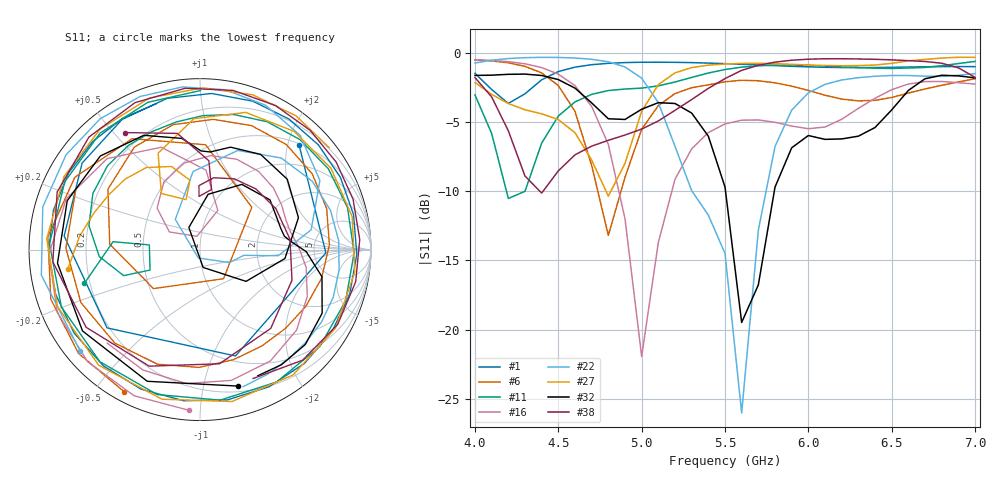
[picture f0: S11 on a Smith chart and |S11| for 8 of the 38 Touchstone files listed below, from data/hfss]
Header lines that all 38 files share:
! Touchstone file exported from HFSS 2024.2.0
!  File:  C:/Users/wsak9/Desktop/Sim Fast/Widenad Patch/WP_AI_V1_sweep.aedt
!  Design:  A1_model
!  Project:  WP_AI_V1_sweep
!  Setup:  Setup1
!  Solution:  Sweep
! Variables:
!Data is not renormalized
# GHz S MA
! Terminal data exported
! Port[1] = 1
Fixed: Curve_len1 = 1, H_sub = 0.79mm
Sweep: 4 GHz to 7 GHz
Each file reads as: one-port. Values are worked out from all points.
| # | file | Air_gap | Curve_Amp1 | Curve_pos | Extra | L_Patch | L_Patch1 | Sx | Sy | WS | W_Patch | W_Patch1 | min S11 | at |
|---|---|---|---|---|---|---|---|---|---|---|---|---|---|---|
| 1 | run_0080.s1p | 3.49mm | 0.6 | 13.41mm | 3.96mm | 22.82mm | 12.54mm | 1.27mm | 3.31mm | 0.68mm | 12.43mm | 8.58mm | -3.7 dB | 4.2 GHz |
| 2 | run_0081.s1p | 4.18mm | 1.67 | 13.27mm | 6.02mm | 22.54mm | 20.21mm | 3.68mm | 3.43mm | 1.15mm | 14.88mm | 14.19mm | -30.1 dB | 4.5 GHz |
| 3 | run_0082.s1p | 1.58mm | 1.92 | 9.755mm | 4.22mm | 15.51mm | 17.91mm | 2.7mm | 1.97mm | 0.46mm | 14.2mm | 13.69mm | -9.5 dB | 6.2 GHz |
| 4 | run_0083.s1p | 2.24mm | 1.39 | 13.195mm | 4.76mm | 22.39mm | 19.83mm | 4.47mm | 3.22mm | 0.33mm | 21.08mm | 15.07mm | -15.2 dB | 4.1 GHz |
| 5 | run_0084.s1p | 3.09mm | 3.15 | 12.085mm | 1.51mm | 20.17mm | 13.11mm | 4.5mm | 4.49mm | 0.96mm | 13.98mm | 11.6mm | -8.9 dB | 4.9 GHz |
| 6 | run_0085.s1p | 2.21mm | 1.83 | 11.94mm | 2.75mm | 19.88mm | 12.92mm | 1.65mm | 0.38mm | 1.38mm | 16.81mm | 10.17mm | -13.2 dB | 4.8 GHz |
| 7 | run_0086.s1p | 2.56mm | 3.27 | 13.19mm | 1.08mm | 22.38mm | 16.28mm | 2.55mm | 4.64mm | 0.68mm | 10.76mm | 15.2mm | -8.3 dB | 6.3 GHz |
| 8 | run_0087.s1p | 4.3mm | 1.21 | 9.88mm | 7.11mm | 15.76mm | 21mm | 4.38mm | 2.23mm | 0.68mm | 22.87mm | 13.89mm | -8.9 dB | 6.2 GHz |
| 9 | run_0088.s1p | 4.74mm | 1.81 | 12.675mm | 7.06mm | 21.35mm | 15.58mm | 3.44mm | 3.36mm | 0.56mm | 14.44mm | 8.52mm | -14.1 dB | 4.6 GHz |
| 10 | run_0089.s1p | 3.68mm | 0.84 | 10.375mm | 4.43mm | 16.75mm | 12.89mm | 3.06mm | 1.9mm | 1.46mm | 15.07mm | 8.46mm | -16.1 dB | 5.9 GHz |
| 11 | run_0090.s1p | 3.67mm | 1.97 | 13.005mm | 1.47mm | 22.01mm | 17.43mm | 0.67mm | 2.5mm | 1.11mm | 21.93mm | 15.96mm | -10.5 dB | 4.2 GHz |
| 12 | run_0091.s1p | 2.78mm | 1.17 | 10.665mm | 1.71mm | 17.33mm | 17.15mm | 3.01mm | 4.44mm | 0.39mm | 13.4mm | 15.44mm | -9.1 dB | 5.8 GHz |
| 13 | run_0093.s1p | 4.9mm | 0.77 | 9.57mm | 6.88mm | 15.14mm | 21.89mm | 3.28mm | 2.06mm | 0.61mm | 22.37mm | 15.01mm | -5.8 dB | 6.5 GHz |
| 14 | run_0094.s1p | 2.57mm | 0.75 | 12.045mm | 5.24mm | 20.09mm | 15.9mm | 2.63mm | 0.49mm | 0.95mm | 13.1mm | 10.66mm | -13.4 dB | 5.3 GHz |
| 15 | run_0095.s1p | 4.31mm | 1.04 | 10.59mm | 4.48mm | 17.18mm | 13.8mm | 2.23mm | 4.89mm | 0.24mm | 15.93mm | 9.32mm | -8.1 dB | 5.6 GHz |
| 16 | run_0096.s1p | 2.74mm | 1.66 | 11.275mm | 5.66mm | 18.55mm | 15.73mm | 0.85mm | 2.62mm | 1.35mm | 13.95mm | 10.07mm | -21.9 dB | 5 GHz |
| 17 | run_0097.s1p | 3.63mm | 0.63 | 12.325mm | 5.35mm | 20.65mm | 14.2mm | 4.91mm | 1.37mm | 0.49mm | 16.4mm | 8.85mm | -8.8 dB | 4.6 GHz |
| 18 | run_0098.s1p | 2.4mm | 1.09 | 10.73mm | 5.14mm | 17.46mm | 14.69mm | 3.29mm | 4.23mm | 0.94mm | 22.16mm | 9.55mm | -17.3 dB | 5.3 GHz |
| 19 | run_0099.s1p | 2.71mm | 1.23 | 10.995mm | 5.77mm | 17.99mm | 17.44mm | 3.97mm | 0.66mm | 0.68mm | 16.62mm | 11.67mm | -17.5 dB | 5.8 GHz |
| 20 | run_0100.s1p | 3.25mm | 2.47 | 10.11mm | 3.71mm | 16.22mm | 20.1mm | 2.58mm | 3.09mm | 1.01mm | 15.69mm | 16.39mm | -10.7 dB | 6 GHz |
| 21 | run_0101.s1p | 3.3mm | 3.25 | 10.315mm | 6.3mm | 16.63mm | 16.24mm | 1.41mm | 1.65mm | 0.77mm | 12.32mm | 9.94mm | -35.1 dB | 5.9 GHz |
| 22 | run_0102.s1p | 2.14mm | 3.61 | 10.285mm | 2.4mm | 16.57mm | 15.32mm | 3.61mm | 2.67mm | 0.53mm | 16.46mm | 12.92mm | -26.0 dB | 5.6 GHz |
| 23 | run_0103.s1p | 3.71mm | 3.48 | 13.23mm | 6.51mm | 22.46mm | 19.31mm | 2.07mm | 3.83mm | 0.48mm | 12.38mm | 12.8mm | -15.9 dB | 4.4 GHz |
| 24 | run_0104.s1p | 4.45mm | 2.14 | 10.39mm | 5.56mm | 16.78mm | 22.24mm | 4.61mm | 4.08mm | 1.1mm | 10.18mm | 16.68mm | -3.1 dB | 6.4 GHz |
| 25 | run_0105.s1p | 2.37mm | 0.75 | 11.885mm | 1.29mm | 19.77mm | 11.06mm | 1.25mm | 0.71mm | 0.41mm | 16.09mm | 9.77mm | -5.9 dB | 4.7 GHz |
| 26 | run_0106.s1p | 2.21mm | 0.52 | 11.725mm | 2mm | 19.45mm | 14.99mm | 1.02mm | 0.75mm | 1.1mm | 17.28mm | 12.99mm | -15.1 dB | 4.7 GHz |
| 27 | run_0107.s1p | 4.63mm | 2.15 | 12.695mm | 7.85mm | 21.39mm | 19.78mm | 3.91mm | 1.93mm | 1.22mm | 21.7mm | 11.93mm | -10.4 dB | 4.8 GHz |
| 28 | run_0108.s1p | 3.43mm | 1.16 | 10.76mm | 6.49mm | 17.52mm | 14.61mm | 2.36mm | 1.87mm | 1.41mm | 14.24mm | 8.12mm | -25.3 dB | 5.5 GHz |
| 29 | run_0109.s1p | 2.13mm | 3.58 | 11.4mm | 6.86mm | 18.8mm | 17.7mm | 1.3mm | 0.89mm | 1.5mm | 13.31mm | 10.84mm | -20.6 dB | 5.6 GHz |
| 30 | run_0110.s1p | 3.19mm | 2.87 | 12.86mm | 1.49mm | 21.72mm | 9.68mm | 4.02mm | 2.73mm | 0.29mm | 20.98mm | 8.19mm | -11.2 dB | 4.3 GHz |
| 31 | run_0111.s1p | 3.06mm | 3.5 | 9.68mm | 5.75mm | 15.36mm | 17.48mm | 0.34mm | 3.68mm | 0.97mm | 11.87mm | 11.73mm | -12.1 dB | 5.7 GHz |
| 32 | run_0112.s1p | 2.25mm | 3.53 | 10.71mm | 6.91mm | 17.42mm | 18.31mm | 0.42mm | 3.66mm | 1.16mm | 14.59mm | 11.4mm | -19.5 dB | 5.6 GHz |
| 33 | run_0113.s1p | 2.79mm | 2.2 | 9.655mm | 1.25mm | 15.31mm | 18.07mm | 4.68mm | 3.7mm | 1.01mm | 10.73mm | 16.82mm | -6.1 dB | 6.6 GHz |
| 34 | run_0114.s1p | 3.64mm | 1.64 | 11.095mm | 0.61mm | 18.19mm | 11.19mm | 0.46mm | 4.57mm | 1.37mm | 22.68mm | 10.58mm | -27.4 dB | 5.2 GHz |
| 35 | run_0115.s1p | 4.48mm | 1.22 | 12.235mm | 3.16mm | 20.47mm | 12.63mm | 2.46mm | 3.98mm | 0.61mm | 20.5mm | 9.47mm | -9.7 dB | 4.8 GHz |
| 36 | run_0116.s1p | 1.72mm | 0.72 | 10.515mm | 6.56mm | 17.03mm | 19.16mm | 3.73mm | 4.3mm | 0.38mm | 14.36mm | 12.6mm | -10.5 dB | 5.1 GHz |
| 37 | run_0117.s1p | 4.38mm | 1.83 | 11.23mm | 7.12mm | 18.46mm | 17.76mm | 3.81mm | 4mm | 0.31mm | 17.87mm | 10.64mm | -3.5 dB | 5.4 GHz |
| 38 | run_0118.s1p | 4.67mm | 2.63 | 12.6mm | 6.28mm | 21.2mm | 18.28mm | 2.61mm | 3.65mm | 1.21mm | 20.1mm | 12mm | -10.1 dB | 4.4 GHz |
